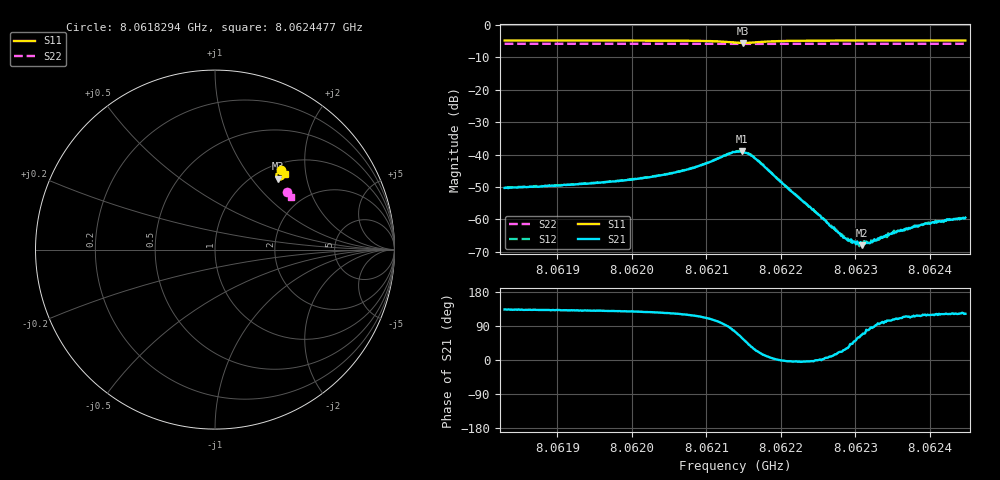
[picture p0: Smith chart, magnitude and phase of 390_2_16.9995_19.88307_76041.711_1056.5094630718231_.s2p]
#  HZ  S  RI  R  50.00
! Rohde & Schwarz Vector Network Analyzer
! Rohde-Schwarz,ZNB20-2Port,1311601062101988,3.16
! Created: UTC 3/20/2024, 11:09:36 PM
! freq[Hz]  re:S11  im:S11  re:S21  im:S21  re:S12  im:S12  re:S22  im:S22
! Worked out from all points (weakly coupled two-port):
!   401 points, 8.0618294 GHz to 8.0624477 GHz, reference 50 ohm
!   highest |S21| = -39.03 dB at 8.0621478 GHz (marker M1); lowest = -67.9 dB at 8.0623086 GHz (marker M2)
!   lowest |S11| = -5.5 dB at 8.0621493 GHz (marker M3), VSWR 3.24, Z = 62.3 + j68.3 ohm
!   |S11| at or under -10 dB: nowhere
!   |S22| runs from -5.9 to -5.8 dB; largest |S21 - S12| = 0.00085
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8.06182936e9  0.3662 0.4448  -0.00209 0.00222  -0.00198 0.00241  0.3988 0.3219
8.06193293e9  0.3733 0.4383  -0.00226 0.00269  -0.00217 0.00284  0.4026 0.3166
8.06198549e9  0.3774 0.4342  -0.00246 0.00309  -0.0023 0.00323  0.4047 0.314
8.0620365e9  0.3816 0.4287  -0.00271 0.00387  -0.0025 0.00407  0.4065 0.3114
8.06208442e9  0.3859 0.4184  -0.00284 0.00562  -0.00254 0.00582  0.4082 0.3085
8.06213852e9  0.3658 0.3909  0.00288 0.0105  0.00358 0.0105  0.4089 0.305
8.0621478e9  0.3524 0.3939  0.00592 0.00948  0.00658 0.00913  0.4086 0.3048
8.06214934e9  0.3503 0.3953  0.00628 0.0091  0.00699 0.00869  0.4086 0.305
8.06215862e9  0.3423 0.4072  0.00779 0.00617  0.00823 0.00574  0.4087 0.305
8.0621648e9  0.3417 0.4155  0.00779 0.00414  0.0081 0.00375  0.4089 0.3051
8.06224209e9  0.3723 0.4345  0.00141 -6.72e-05  0.00143 -0.000173  0.4131 0.302
8.06226992e9  0.377 0.4329  0.000733 0.000143  0.000735 8.94e-05  0.4143 0.3004
8.06228692e9  0.3793 0.4314  0.000446 0.000245  0.000487 0.000246  0.415 0.2995
8.06229774e9  0.3806 0.4309  0.000304 0.000342  0.000288 0.000303  0.4153 0.299
8.06230856e9  0.3817 0.4302  0.000164 0.000368  0.000178 0.000387  0.4158 0.2985
8.06231166e9  0.3822 0.43  0.000153 0.000412  0.000196 0.000418  0.4159 0.2983
8.06232093e9  0.383 0.4293  2.86e-05 0.000449  7.18e-05 0.000468  0.4163 0.2977
8.06234566e9  0.3852 0.4278  -0.000144 0.000568  -8.24e-05 0.000575  0.4171 0.2965
8.06235494e9  0.386 0.4272  -0.000212 0.000594  -0.000207 0.00061  0.4174 0.2961
8.06237194e9  0.3874 0.4261  -0.00031 0.00067  -0.000249 0.000681  0.4181 0.2952
8.06239668e9  0.3893 0.4248  -0.00042 0.000743  -0.000391 0.000784  0.4189 0.2938
8.06244769e9  0.3927 0.4218  -0.000561 0.000901  -0.000519 0.000915  0.4208 0.2911
